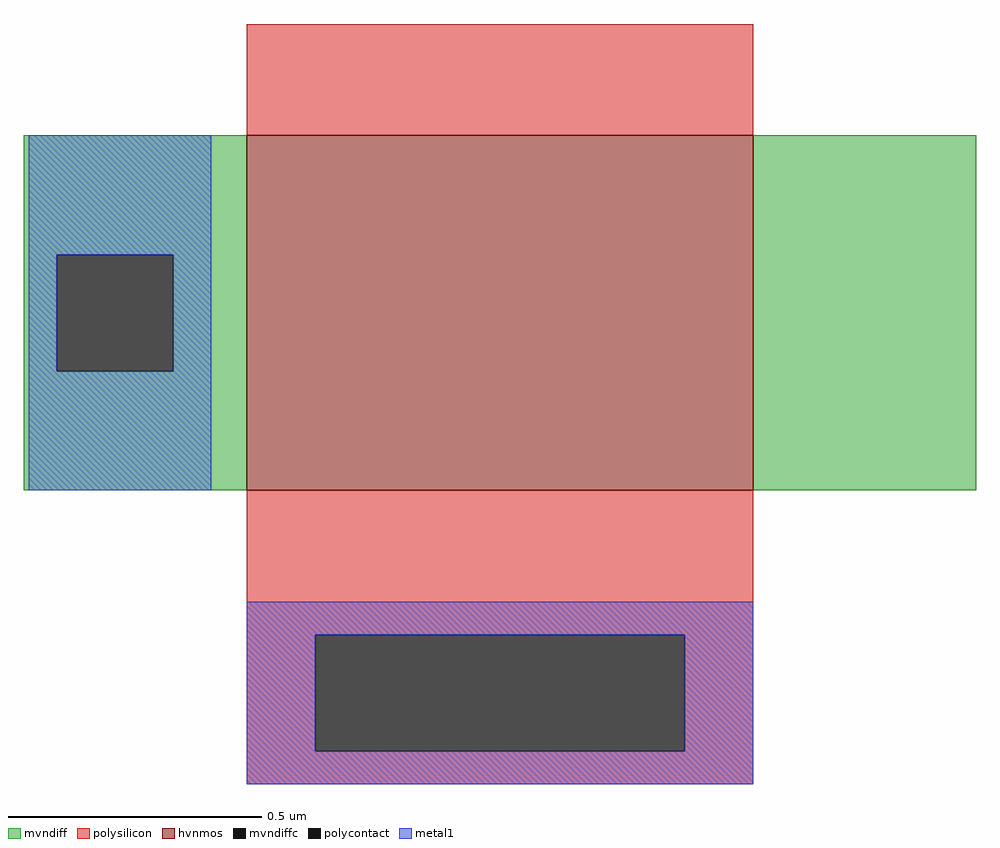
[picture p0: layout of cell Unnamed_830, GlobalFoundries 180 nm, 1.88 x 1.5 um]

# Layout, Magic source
magic
tech gf180mcuD
magscale 1 10
<< hvnmos >>
rect 14 0 214 140
<< mvndiff >>
rect -74 93 14 140
rect -74 47 -61 93
rect -15 47 14 93
rect -74 0 14 47
rect 214 0 302 140
<< mvndiffc >>
rect -61 47 -15 93
<< polysilicon >>
rect 14 140 214 184
rect 14 -57 214 0
rect 14 -103 41 -57
rect 187 -103 214 -57
rect 14 -116 214 -103
<< polycontact >>
rect 41 -103 187 -57
<< metal1 >>
rect -72 93 0 140
rect -72 47 -61 93
rect -15 47 0 93
rect -72 0 0 47
rect 14 -57 214 -44
rect 14 -103 41 -57
rect 187 -103 214 -57
rect 14 -116 214 -103
<< end >>
